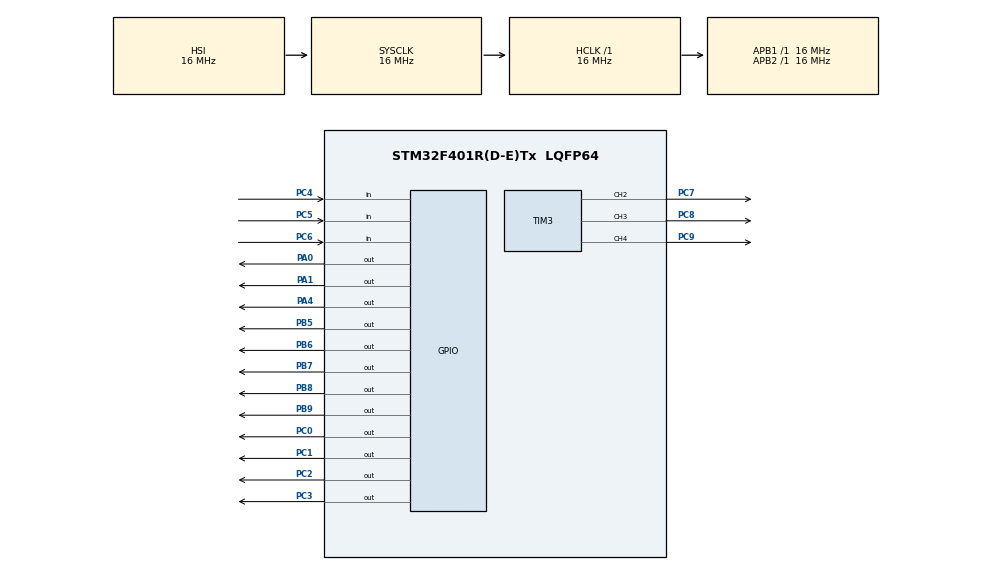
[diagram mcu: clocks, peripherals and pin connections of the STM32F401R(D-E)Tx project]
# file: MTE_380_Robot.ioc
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Mcu.Family=STM32F4
Mcu.Name=STM32F401R(D-E)Tx
Mcu.Package=LQFP64
NVIC.PriorityGroup=NVIC_PRIORITYGROUP_4
PA0-WKUP.Signal=GPIO_Output
PA1.Signal=GPIO_Output
PA4.Signal=GPIO_Output
PB5.Signal=GPIO_Output
PB6.Signal=GPIO_Output
PB7.Signal=GPIO_Output
PB8.Signal=GPIO_Output
PB9.Signal=GPIO_Output
PC0.Signal=GPIO_Output
PC1.Signal=GPIO_Output
PC2.Signal=GPIO_Output
PC3.Signal=GPIO_Output
PC4.Signal=GPIO_Input
PC5.Signal=GPIO_Input
PC6.Signal=GPIO_Input
PC7.Signal=S_TIM3_CH2
PC8.Signal=S_TIM3_CH3
PC9.Signal=S_TIM3_CH4
PH0\ -\ OSC_IN.Mode=HSE-External-Oscillator
PH0\ -\ OSC_IN.Signal=RCC_OSC_IN
PH1\ -\ OSC_OUT.Mode=HSE-External-Oscillator
PH1\ -\ OSC_OUT.Signal=RCC_OSC_OUT
ProjectManager.HeapSize=0x200
ProjectManager.StackSize=0x400
ProjectManager.TargetToolchain=STM32CubeIDE
RCC.AHBFreq_Value=16000000
RCC.APB1Freq_Value=16000000
RCC.APB2Freq_Value=16000000
RCC.CortexFreq_Value=16000000
RCC.HSE_VALUE=25000000
RCC.HSI_VALUE=16000000
RCC.LSE_VALUE=32768
RCC.SYSCLKFreq_VALUE=16000000
RCC.VCOOutputFreq_Value=192000000
SH.S_TIM3_CH2.0=TIM3_CH2,Output Compare2 CH2
SH.S_TIM3_CH3.0=TIM3_CH3,PWM Generation3 CH3
SH.S_TIM3_CH4.0=TIM3_CH4,PWM Generation4 CH4
TIM3.Channel-Output\ Compare2\ CH2=TIM_CHANNEL_2
TIM3.Channel-PWM\ Generation3\ CH3=TIM_CHANNEL_3
TIM3.Channel-PWM\ Generation4\ CH4=TIM_CHANNEL_4
VP_TIM3_VS_ClockSourceINT.Mode=Internal
board=custom

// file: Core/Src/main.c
/* USER CODE BEGIN Header */
/**
  ******************************************************************************
  * @file           : main.c
  * @brief          : Main program body
  ******************************************************************************
  * @attention
  *
  * Copyright (c) 2024 STMicroelectronics.
  * All rights reserved.
  *
  * This software is licensed under terms that can be found in the LICENSE file
  * in the root directory of this software component.
  * If no LICENSE file comes with this software, it is provided AS-IS.
  *
  ******************************************************************************
  */
/* USER CODE END Header */
#include "main.h"
#include <stdbool.h>

TIM_HandleTypeDef htim3;

/* USER CODE BEGIN PV */
//Creating a typedef for motor states
typedef enum {
	MOTOR_FORWARD = 0,
	MOTOR_BACKWARD,
	MOTOR_STOP
}MotorStates_t;

//Creating a typedef for Mission States
typedef enum {
	START_RECOGNITION = 0,
	START_TO_TARGET,
	ACQUIRE_TARGET,
	TARGET_ACQUIRED,
	TARGET_TO_START,
	SAFE_ZONE,
	TARGET_RELEASE,
	MISSION_SUCCESSFUL
}MissionStates_t;

//Creating a typedef for Surfaces
typedef enum {
	RED = 0,
	BLUE,
	GREEN,
	WOOD,
	NOT_APPLICABLE
}Surfaces_t;

//State trackers
bool AT_START_LINE = FALSE;
bool AT_TARGET = FALSE;
bool TARGET_PATH_REALIGNED = FALSE;

//Defining Min and Max values for Colour Sensor
int FCL_R_max = 57;
int FCL_R_min = 6;
int FCL_G_max = 55;
int FCL_G_min = 6;
int FCL_B_max = 39;
int FCL_B_min = 4;

int LCL_R_max = 51;
int LCL_R_min = 5;
int LCL_G_max =  53 ;
int LCL_G_min = 3;
int LCL_B_max =  37;
int LCL_B_min = 3;

int RCL_R_max = 41;
int RCL_R_min = 4;
int RCL_G_max = 41;
int RCL_G_min = 3;
int RCL_B_max = 30;
int RCL_B_min = 3;

//Defining all colour sensor parameters
//FRONT COLOUR SENSOR PARAMETERS
// FCL RED SURFACE PARAMETERS
int FCL_RED_R_AVG = 215;
int FCL_RED_R_M_10 = FCL_RED_R_AVG - 10;
int FCL_RED_R_P_10 = FCL_RED_R_AVG +10;

int FCL_RED_G_AVG = 71;
int FCL_RED_G_M_10 = FCL_RED_R_AVG - 10;
int FCL_RED_G_P_10 = FCL_RED_R_AVG +10;

int FCL_RED_B_AVG = 70;
int FCL_RED_B_M_10 = FCL_RED_R_AVG - 10;
int FCL_RED_B_P_10 = FCL_RED_R_AVG +10;

// FCL GREEN SURFACE PARAMETERS

int FCL_GREEN_R_AVG = 100;
int FCL_GREEN_R_M_10 = FCL_GREEN_R_AVG - 10;
int FCL_GREEN_R_P_10 = FCL_GREEN_R_AVG +10;

int FCL_GREEN_G_AVG = 108;
int FCL_GREEN_G_M_10 = FCL_GREEN_R_AVG - 10;
int FCL_GREEN_G_P_10 = FCL_GREEN_R_AVG +10;

int FCL_GREEN_B_AVG = 76;
int FCL_GREEN_B_M_10 = FCL_GREEN_R_AVG - 10;
int FCL_GREEN_B_P_10 = FCL_GREEN_R_AVG +10;

// FCL BLUE SURFACE PARAMETERS

int FCL_BLUE_R_AVG = 185;
int FCL_BLUE_R_M_10 = FCL_BLUE_R_AVG - 10;
int FCL_BLUE_R_P_10 = FCL_BLUE_R_AVG +10;

int FCL_BLUE_G_AVG = 197;
int FCL_BLUE_G_M_10 = FCL_BLUE_R_AVG - 10;
int FCL_BLUE_G_P_10 = FCL_BLUE_R_AVG +10;

int FCL_BLUE_B_AVG = 212;
int FCL_BLUE_B_M_10 = FCL_BLUE_R_AVG - 10;
int FCL_BLUE_B_P_10 = FCL_BLUE_R_AVG +10;

// FCL WOOD SURFACE PARAMETERS

int FCL_WOOD_R_AVG = 230;
int FCL_WOOD_R_M_10 = FCL_WOOD_R_AVG - 10;
int FCL_WOOD_R_P_10 = FCL_WOOD_R_AVG +10;

int FCL_WOOD_G_AVG = 203;
int FCL_WOOD_G_M_10 = FCL_WOOD_R_AVG - 10;
int FCL_WOOD_G_P_10 = FCL_WOOD_R_AVG +10;

int FCL_WOOD_B_AVG = 176;
int FCL_WOOD_B_M_10 = FCL_WOOD_R_AVG - 10;
int FCL_WOOD_B_P_10 = FCL_WOOD_R_AVG +10;

//LEFT COLOUR SENSOR PARAMETERS
// LCL RED SURFACE PARAMETERS

int LCL_RED_R_AVG = 215;
int LCL_RED_R_M_10 = LCL_RED_R_AVG - 10;
int LCL_RED_R_P_10 = LCL_RED_R_AVG +10;

int LCL_RED_G_AVG = 71;
int LCL_RED_G_M_10 = LCL_RED_R_AVG - 10;
int LCL_RED_G_P_10 = LCL_RED_R_AVG +10;

int LCL_RED_B_AVG = 70;
int LCL_RED_B_M_10 = LCL_RED_R_AVG - 10;
int LCL_RED_B_P_10 = LCL_RED_R_AVG +10;

// LCL GREEN SURFACE PARAMETERS

int LCL_GREEN_R_AVG = 100;
int LCL_GREEN_R_M_10 = LCL_GREEN_R_AVG - 10;
int LCL_GREEN_R_P_10 = LCL_GREEN_R_AVG +10;

int LCL_GREEN_G_AVG = 108;
int LCL_GREEN_G_M_10 = LCL_GREEN_R_AVG - 10;
int LCL_GREEN_G_P_10 = LCL_GREEN_R_AVG +10;

int LCL_GREEN_B_AVG = 76;
int LCL_GREEN_B_M_10 = LCL_GREEN_R_AVG - 10;
int LCL_GREEN_B_P_10 = LCL_GREEN_R_AVG +10;

// LCL BLUE SURFACE PARAMETERS

int LCL_BLUE_R_AVG = 185;
int LCL_BLUE_R_M_10 = LCL_BLUE_R_AVG - 10;
int LCL_BLUE_R_P_10 = LCL_BLUE_R_AVG +10;

int LCL_BLUE_G_AVG = 197;
int LCL_BLUE_G_M_10 = LCL_BLUE_R_AVG - 10;
int LCL_BLUE_G_P_10 = LCL_BLUE_R_AVG +10;

int LCL_BLUE_B_AVG = 212;
int LCL_BLUE_B_M_10 = LCL_BLUE_R_AVG - 10;
int LCL_BLUE_B_P_10 = LCL_BLUE_R_AVG +10;

// LCL WOOD SURFACE PARAMETERS

int LCL_WOOD_R_AVG = 230;
int LCL_WOOD_R_M_10 = LCL_WOOD_R_AVG - 10;
int LCL_WOOD_R_P_10 = LCL_WOOD_R_AVG +10;

int LCL_WOOD_G_AVG = 203;
int LCL_WOOD_G_M_10 = LCL_WOOD_R_AVG - 10;
int LCL_WOOD_G_P_10 = LCL_WOOD_R_AVG +10;

int LCL_WOOD_B_AVG = 176;
int LCL_WOOD_B_M_10 = LCL_WOOD_R_AVG - 10;
int LCL_WOOD_B_P_10 = LCL_WOOD_R_AVG +10;

//RCL COLOUR SENSOR PARAMETERS
// RCL RED SURFACE PARAMETERS

int RCL_RED_R_AVG = 215;
int RCL_RED_R_M_10 = RCL_RED_R_AVG - 10;
int RCL_RED_R_P_10 = RCL_RED_R_AVG +10;

int RCL_RED_G_AVG = 71;
int RCL_RED_G_M_10 = RCL_RED_R_AVG - 10;
int RCL_RED_G_P_10 = RCL_RED_R_AVG +10;

int RCL_RED_B_AVG = 70;
int RCL_RED_B_M_10 = RCL_RED_R_AVG - 10;
int RCL_RED_B_P_10 = RCL_RED_R_AVG +10;

// RCL GREEN SURFACE PARAMETERS

int RCL_GREEN_R_AVG = 100;
int RCL_GREEN_R_M_10 = RCL_GREEN_R_AVG - 10;
int RCL_GREEN_R_P_10 = RCL_GREEN_R_AVG +10;

int RCL_GREEN_G_AVG = 108;
int RCL_GREEN_G_M_10 = RCL_GREEN_R_AVG - 10;
int RCL_GREEN_G_P_10 = RCL_GREEN_R_AVG +10;

int RCL_GREEN_B_AVG = 76;
int RCL_GREEN_B_M_10 = RCL_GREEN_R_AVG - 10;
int RCL_GREEN_B_P_10 = RCL_GREEN_R_AVG +10;

// RCL BLUE SURFACE PARAMETERS

int RCL_BLUE_R_AVG = 185;
int RCL_BLUE_R_M_10 = RCL_BLUE_R_AVG - 10;
int RCL_BLUE_R_P_10 = RCL_BLUE_R_AVG +10;

int RCL_BLUE_G_AVG = 197;
int RCL_BLUE_G_M_10 = RCL_BLUE_R_AVG - 10;
int RCL_BLUE_G_P_10 = RCL_BLUE_R_AVG +10;

int RCL_BLUE_B_AVG = 212;
int RCL_BLUE_B_M_10 = RCL_BLUE_R_AVG - 10;
int RCL_BLUE_B_P_10 = RCL_BLUE_R_AVG +10;

// RCL WOOD SURFACE PARAMETERS

int RCL_WOOD_R_AVG = 230;
int RCL_WOOD_R_M_10 = RCL_WOOD_R_AVG - 10;
int RCL_WOOD_R_P_10 = RCL_WOOD_R_AVG +10;

int RCL_WOOD_G_AVG = 203;
int RCL_WOOD_G_M_10 = RCL_WOOD_R_AVG - 10;
int RCL_WOOD_G_P_10 = RCL_WOOD_R_AVG +10;

int RCL_WOOD_B_AVG = 176;
int RCL_WOOD_B_M_10 = RCL_WOOD_R_AVG - 10;
int RCL_WOOD_B_P_10 = RCL_WOOD_R_AVG +10;

//Identifying surface being seen by front colour sensor using getFCLcolour() function
int FCL_R[10] = 0;
int FCL_G[10] = 0;
int FCL_B[10] = 0;

int curr_R_sum = 0;
int curr_G_sum = 0;
int curr_B_sum = 0;

int curr_R_average = 0;
int curr_G_average = 0;
int curr_B_average = 0;

Surfaces_t FCL_Surface = NOT_APPLICABLE;

Surfaces_t getFCLcolour(){

	for (int i = 0; i<10; i++){
		curr_R_sum += FCL_R[i];
		curr_G_sum += FCL_G[i];
		curr_B_sum += FCL_B[i];

		if (i<9){
		FCL_R[i] = FCL_R[i+1];
		FCL_G[i] = FCL_G[i+1];
		FCL_B[i] = FCL_B[i+1];
		}
/*
		else{
		FCL_R[i] = ReadRInput from colour sensor mapped to RGB Scale using max and min;
		S2, S3 = RedFilter
		Frequency_PW = Reading from sensor (SOUT)
		Frequency_RGB = map(FCL_R_max, FCL_R_min, 0, 255)

		FCL_G[i] = ReadGInput from colour sensor mapped to RGB Scale using max and min;
		S2, S3 = GreenFilter
		Frequency_PW = Reading from sensor (SOUT)
		Frequency_RGB = map(FCL_G_max, FCL_G_min, 0, 255)

		FCL_B[i] = ReadBInput from colour sensor mapped to RGB Scale using max and min;
		S2, S3 = BlueFilter
		Frequency_PW = Reading from sensor (SOUT)
		Frequency_RGB = map(FCL_B_max, FCL_B_min, 0, 255)

		}
	}
*/
	curr_R_Average = curr_R_sum/10;
	curr_G_Average = curr_G_sum/10;
	curr_B_Average = curr_B_sum/10;

	if (((FCL_RED_R_M_10 <= curr_R_average) && (curr_R_average <= FCL_RED_R_P_10))
	&& ((FCL_RED_G_M_10 <= curr_G_average) && (curr_G_average <= FCL_RED_G_P_10))
	&& ((FCL_RED_B_M_10 <= curr_B_average) && (curr_B_average <= FCL_RED_B_P_10)))
		{
		FCL_Surface = RED;
		}

	else if (((FCL_GREEN_R_M_10 <= curr_R_average) && (curr_R_average <= FCL_GREEN_R_P_10))
		&& ((FCL_GREEN_G_M_10 <= curr_G_average) && (curr_G_average <= FCL_GREEN_G_P_10))
		&& ((FCL_GREEN_B_M_10 <= curr_B_average) && (curr_B_average <= FCL_GREEN_B_P_10)))
		{
		FCL_Surface = GREEN;
		}

	else if (((FCL_BLUE_R_M_10 <= curr_R_average) && (curr_R_average <= FCL_BLUE_R_P_10))
			&& ((FCL_BLUE_G_M_10 <= curr_G_average) && (curr_G_average <= FCL_BLUE_G_P_10))
			&& ((FCL_BLUE_B_M_10 <= curr_B_average) && (curr_B_average <= FCL_BLUE_B_P_10)))
		{
		FCL_Surface = BLUE;
		}

	else if (((FCL_WOOD_R_M_10 <= curr_R_average) && (curr_R_average <= FCL_WOOD_R_P_10))
				&& ((FCL_WOOD_G_M_10 <= curr_G_average) && (curr_G_average <= FCL_WOOD_G_P_10))
				&& ((FCL_WOOD_B_M_10 <= curr_B_average) && (curr_B_average <= FCL_WOOD_B_P_10)))
		{
		FCL_Surface = WOOD;
		}
	else
		FCL_Surface = NOT_APPLICABLE;

	return FCL_Surface;
}
GPIO_PinState PB5_IN1 = GPIO_PIN_RESET;
GPIO_PinState PB6_IN2 = GPIO_PIN_RESET;
GPIO_PinState PB7_IN3 = GPIO_PIN_RESET;
GPIO_PinState PB8_IN4 = GPIO_PIN_RESET;
/* USER CODE END PV */

void SystemClock_Config(void);
static void MX_GPIO_Init(void);
static void MX_TIM3_Init(void);
void motorMove(MotorStates_t dirLeft, int32_t chLeft, MotorStates_t dirRight, int32_t chRight);

int main(void)
{

	/* Reset of all peripherals, Initializes the Flash interface and the Systick. */
	HAL_Init();

	/* Configure the system clock */
	SystemClock_Config();

	/* Initialize all configured peripherals */
	MX_GPIO_Init();
	MX_TIM3_Init();

	HAL_TIM_PWM_Start(&htim3, TIM_CHANNEL_2);	// PC7
	HAL_TIM_PWM_Start(&htim3, TIM_CHANNEL_3);	// PC8
	HAL_TIM_PWM_Start(&htim3, TIM_CHANNEL_4);	// PC9
	// Timer 3 has a period size of 16 bits, 0 - 65535, ARR set to 65534 (max period)
	// TIM3->CCRX = PWM_Durity_Cycle = CCR/ARR

Surfaces_t MISIION_STATE;

MISSION_STATE = START_RECOGNITION;
SetLED(START_RECOGNITION);

While(At_start_line != 1){
	- Surface_FCL = getFCLcolour();
	- Surface_RCL = getRCLcolour();
	- Surface_LCL = getLCLcolour();
	- While (FCL != RED && LCL != RED && RCL != RED)
		○ Move Forward;
		○ FCL = getFCLcolour();
		○ RCL = getRCLcolour();
		○ LCL = getLCLcolour();
	- Set At Start Line = 1;
}

State = Start_to_Target
SetLED(Start_to_Target);

While(At_Target != 1){
	- FCL = getFCLcolour();
	- RCL = getRCLcolour();
	- LCL = getLCLcolour();
	- If (FCL == RED, RCL == WOOD, LCL == WOOD)
		○ MoveForward
	- Else
		○ Stop
		○ Turn_or_Realign(Forward)
	- If (FCL == BLUE)
		○ At_Target = 1;
}

Stop for 3 seconds

State = Target_to_Start
SetLED(Target_to_Start);

While(At_Start_Line != 1){
	- FCL = getFCLcolour();
	- RCL = getRCLcolour();
	- LCL = getLCLcolour();
	- If (FCL == RED, RCL == WOOD, LCL == WOOD)
		○ MoveReverse
	- Else
		○ Stop
Turn_or_Realign(Reverse)
	while (1)
	{
		motorMove(MOTOR_FORWARD, 65535, MOTOR_FORWARD, 65535);
//		HAL_Delay(1000);
//
//		motorMove(MOTOR_FORWARD, 60000, MOTOR_FORWARD, 30000);
//		HAL_Delay(1000);
//
//		motorMove(MOTOR_FORWARD, 60000, MOTOR_FORWARD, 60000);
//		HAL_Delay(1000);
//
//		motorMove(MOTOR_STOP, 30000, MOTOR_STOP, 30000);
//		HAL_Delay(1000);
//
//		motorMove(MOTOR_BACKWARD, 30000, MOTOR_BACKWARD, 30000);
//		HAL_Delay(1000);
//
//		motorMove(MOTOR_BACKWARD, 60000, MOTOR_BACKWARD, 30000);
//		HAL_Delay(1000);
//
//		motorMove(MOTOR_BACKWARD, 60000, MOTOR_BACKWARD, 60000);
//		HAL_Delay(1000);
//
//		motorMove(MOTOR_STOP, 30000, MOTOR_STOP, 30000);
//		HAL_Delay(1000);

	}

}

void SystemClock_Config(void)
{
  RCC_OscInitTypeDef RCC_OscInitStruct = {0};
  RCC_ClkInitTypeDef RCC_ClkInitStruct = {0};

  /** Configure the main internal regulator output voltage
  */
  __HAL_RCC_PWR_CLK_ENABLE();
  __HAL_PWR_VOLTAGESCALING_CONFIG(PWR_REGULATOR_VOLTAGE_SCALE2);

  /** Initializes the RCC Oscillators according to the specified parameters
  * in the RCC_OscInitTypeDef structure.
  */
  RCC_OscInitStruct.OscillatorType = RCC_OSCILLATORTYPE_HSI;
  RCC_OscInitStruct.HSIState = RCC_HSI_ON;
  RCC_OscInitStruct.HSICalibrationValue = RCC_HSICALIBRATION_DEFAULT;
  RCC_OscInitStruct.PLL.PLLState = RCC_PLL_NONE;
  if (HAL_RCC_OscConfig(&RCC_OscInitStruct) != HAL_OK)
  {
    Error_Handler();
  }

  /** Initializes the CPU, AHB and APB buses clocks
  */
  RCC_ClkInitStruct.ClockType = RCC_CLOCKTYPE_HCLK|RCC_CLOCKTYPE_SYSCLK
                              |RCC_CLOCKTYPE_PCLK1|RCC_CLOCKTYPE_PCLK2;
  RCC_ClkInitStruct.SYSCLKSource = RCC_SYSCLKSOURCE_HSI;
  RCC_ClkInitStruct.AHBCLKDivider = RCC_SYSCLK_DIV1;
  RCC_ClkInitStruct.APB1CLKDivider = RCC_HCLK_DIV1;
  RCC_ClkInitStruct.APB2CLKDivider = RCC_HCLK_DIV1;

  if (HAL_RCC_ClockConfig(&RCC_ClkInitStruct, FLASH_LATENCY_0) != HAL_OK)
  {
    Error_Handler();
  }
}

static void MX_TIM3_Init(void)
{

  TIM_ClockConfigTypeDef sClockSourceConfig = {0};
  TIM_MasterConfigTypeDef sMasterConfig = {0};
  TIM_OC_InitTypeDef sConfigOC = {0};

  htim3.Instance = TIM3;
  htim3.Init.Prescaler = 0;
  htim3.Init.CounterMode = TIM_COUNTERMODE_UP;
  htim3.Init.Period = 65535;
  htim3.Init.ClockDivision = TIM_CLOCKDIVISION_DIV1;
  htim3.Init.AutoReloadPreload = TIM_AUTORELOAD_PRELOAD_DISABLE;
  if (HAL_TIM_Base_Init(&htim3) != HAL_OK)
  {
    Error_Handler();
  }
  sClockSourceConfig.ClockSource = TIM_CLOCKSOURCE_INTERNAL;
  if (HAL_TIM_ConfigClockSource(&htim3, &sClockSourceConfig) != HAL_OK)
  {
    Error_Handler();
  }
  if (HAL_TIM_OC_Init(&htim3) != HAL_OK)
  {
    Error_Handler();
  }
  if (HAL_TIM_PWM_Init(&htim3) != HAL_OK)
  {
    Error_Handler();
  }
  sMasterConfig.MasterOutputTrigger = TIM_TRGO_RESET;
  sMasterConfig.MasterSlaveMode = TIM_MASTERSLAVEMODE_DISABLE;
  if (HAL_TIMEx_MasterConfigSynchronization(&htim3, &sMasterConfig) != HAL_OK)
  {
    Error_Handler();
  }
  sConfigOC.OCMode = TIM_OCMODE_PWM1;
  sConfigOC.Pulse = 0;
  sConfigOC.OCPolarity = TIM_OCPOLARITY_HIGH;
  sConfigOC.OCFastMode = TIM_OCFAST_DISABLE;
  if (HAL_TIM_OC_ConfigChannel(&htim3, &sConfigOC, TIM_CHANNEL_2) != HAL_OK)
  {
    Error_Handler();
  }
  sConfigOC.OCMode = TIM_OCMODE_PWM1;
  if (HAL_TIM_PWM_ConfigChannel(&htim3, &sConfigOC, TIM_CHANNEL_3) != HAL_OK)
  {
    Error_Handler();
  }
  if (HAL_TIM_PWM_ConfigChannel(&htim3, &sConfigOC, TIM_CHANNEL_4) != HAL_OK)
  {
    Error_Handler();
  }
  HAL_TIM_MspPostInit(&htim3);

}

static void MX_GPIO_Init(void)
{
  GPIO_InitTypeDef GPIO_InitStruct = {0};

  /* GPIO Ports Clock Enable */
  __HAL_RCC_GPIOH_CLK_ENABLE();
  __HAL_RCC_GPIOC_CLK_ENABLE();
  __HAL_RCC_GPIOA_CLK_ENABLE();
  __HAL_RCC_GPIOB_CLK_ENABLE();

  /*Configure GPIO pin Output Level */
  HAL_GPIO_WritePin(GPIOC, GPIO_PIN_0|GPIO_PIN_1|GPIO_PIN_2|GPIO_PIN_3, GPIO_PIN_RESET);

  /*Configure GPIO pin Output Level */
  HAL_GPIO_WritePin(GPIOA, GPIO_PIN_0|GPIO_PIN_1|GPIO_PIN_4, GPIO_PIN_RESET);

  /*Configure GPIO pin Output Level */
  HAL_GPIO_WritePin(GPIOB, GPIO_PIN_5|GPIO_PIN_6|GPIO_PIN_7|GPIO_PIN_8|GPIO_PIN_9, GPIO_PIN_RESET);

  /*Configure GPIO pins : PC0 PC1 PC2 PC3 */
  GPIO_InitStruct.Pin = GPIO_PIN_0|GPIO_PIN_1|GPIO_PIN_2|GPIO_PIN_3;
  GPIO_InitStruct.Mode = GPIO_MODE_OUTPUT_PP;
  GPIO_InitStruct.Pull = GPIO_NOPULL;
  GPIO_InitStruct.Speed = GPIO_SPEED_FREQ_LOW;
  HAL_GPIO_Init(GPIOC, &GPIO_InitStruct);

  /*Configure GPIO pins : PA0 PA1 PA4 */
  GPIO_InitStruct.Pin = GPIO_PIN_0|GPIO_PIN_1|GPIO_PIN_4;
  GPIO_InitStruct.Mode = GPIO_MODE_OUTPUT_PP;
  GPIO_InitStruct.Pull = GPIO_NOPULL;
  GPIO_InitStruct.Speed = GPIO_SPEED_FREQ_LOW;
  HAL_GPIO_Init(GPIOA, &GPIO_InitStruct);

  /*Configure GPIO pins : PC4 PC5 PC6 */
  GPIO_InitStruct.Pin = GPIO_PIN_4|GPIO_PIN_5|GPIO_PIN_6;
  GPIO_InitStruct.Mode = GPIO_MODE_INPUT;
  GPIO_InitStruct.Pull = GPIO_NOPULL;
  HAL_GPIO_Init(GPIOC, &GPIO_InitStruct);

  /*Configure GPIO pins : PB5 PB6 PB7 PB8 PB9 */
  GPIO_InitStruct.Pin = GPIO_PIN_5|GPIO_PIN_6|GPIO_PIN_7|GPIO_PIN_8|GPIO_PIN_9;
  GPIO_InitStruct.Mode = GPIO_MODE_OUTPUT_PP;
  GPIO_InitStruct.Pull = GPIO_NOPULL;
  GPIO_InitStruct.Speed = GPIO_SPEED_FREQ_LOW;
  HAL_GPIO_Init(GPIOB, &GPIO_InitStruct);

}

/* USER CODE BEGIN 4 */
void motorMove(MotorStates_t dirLeft, int32_t chLeft, MotorStates_t dirRight, int32_t chRight)
{
	// Left Motor
	if(dirLeft == MOTOR_FORWARD){
		PB5_IN1	= GPIO_PIN_SET;
		PB6_IN2 = GPIO_PIN_RESET;
	} else if(dirLeft == MOTOR_BACKWARD){
		PB5_IN1	= GPIO_PIN_RESET;
		PB6_IN2 = GPIO_PIN_SET;
	} else if(dirLeft == MOTOR_STOP){
		PB5_IN1	= GPIO_PIN_RESET;
		PB6_IN2 = GPIO_PIN_RESET;
		chLeft = 0;
	}

	// Right Motor
	if(dirRight == MOTOR_FORWARD){
		PB7_IN3	= GPIO_PIN_SET;
		PB8_IN4 = GPIO_PIN_RESET;
	} else if(dirRight == MOTOR_BACKWARD){
		PB7_IN3	= GPIO_PIN_RESET;
		PB8_IN4 = GPIO_PIN_SET;
	} else if(dirRight == MOTOR_STOP){
		PB7_IN3	= GPIO_PIN_RESET;
		PB8_IN4 = GPIO_PIN_RESET;
		chRight = 0;
	}

	HAL_GPIO_WritePin(GPIOB, GPIO_PIN_5, PB5_IN1);
	HAL_GPIO_WritePin(GPIOB, GPIO_PIN_6, PB6_IN2);
	TIM3->CCR2 = chLeft;

	HAL_GPIO_WritePin(GPIOB, GPIO_PIN_7, PB7_IN3);
	HAL_GPIO_WritePin(GPIOB, GPIO_PIN_8, PB8_IN4);
	TIM3->CCR3 = chRight;

}
/* USER CODE END 4 */

void Error_Handler(void)
{
  __disable_irq();
  while (1)
  {
  }
}
